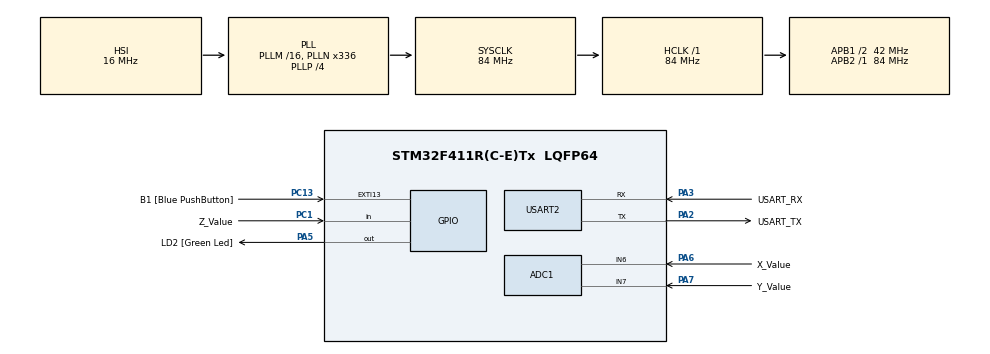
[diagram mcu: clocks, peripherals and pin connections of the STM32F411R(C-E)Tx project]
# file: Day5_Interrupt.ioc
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ADC1.Channel-0\#ChannelRegularConversion=ADC_CHANNEL_6
ADC1.Channel-1\#ChannelRegularConversion=ADC_CHANNEL_7
ADC1.NbrOfConversion=2
ADC1.NbrOfConversionFlag=1
ADC1.Rank-0\#ChannelRegularConversion=1
ADC1.Rank-1\#ChannelRegularConversion=2
ADC1.SamplingTime-0\#ChannelRegularConversion=ADC_SAMPLETIME_480CYCLES
ADC1.SamplingTime-1\#ChannelRegularConversion=ADC_SAMPLETIME_480CYCLES
ADC1.ScanConvMode=ENABLE
ADC1.master=1
Mcu.Family=STM32F4
Mcu.Name=STM32F411R(C-E)Tx
Mcu.Package=LQFP64
NVIC.ADC_IRQn=true\:0\:0\:false\:false\:true\:true\:true\:true
NVIC.PriorityGroup=NVIC_PRIORITYGROUP_0
PA13.GPIO_Label=TMS
PA13.Mode=Serial_Wire
PA13.Signal=SYS_JTMS-SWDIO
PA14.GPIO_Label=TCK
PA14.Mode=Serial_Wire
PA14.Signal=SYS_JTCK-SWCLK
PA2.GPIO_Label=USART_TX
PA2.Mode=Asynchronous
PA2.Signal=USART2_TX
PA3.GPIO_Label=USART_RX
PA3.Mode=Asynchronous
PA3.Signal=USART2_RX
PA5.GPIO_Label=LD2 [Green Led]
PA5.Signal=GPIO_Output
PA6.GPIO_Label=X_Value
PA6.Signal=ADCx_IN6
PA7.GPIO_Label=Y_Value
PA7.Signal=ADCx_IN7
PB3.GPIO_Label=SWO
PB3.Signal=SYS_JTDO-SWO
PC1.GPIO_Label=Z_Value
PC1.Signal=GPIO_Input
PC13-ANTI_TAMP.GPIO_Label=B1 [Blue PushButton]
PC13-ANTI_TAMP.GPIO_ModeDefaultEXTI=GPIO_MODE_IT_FALLING
PC13-ANTI_TAMP.Signal=GPXTI13
PC14-OSC32_IN.Mode=LSE-External-Oscillator
PC14-OSC32_IN.Signal=RCC_OSC32_IN
PC15-OSC32_OUT.Mode=LSE-External-Oscillator
PC15-OSC32_OUT.Signal=RCC_OSC32_OUT
PH0\ -\ OSC_IN.Mode=HSE-External-Clock-Source
PH0\ -\ OSC_IN.Signal=RCC_OSC_IN
PH1\ -\ OSC_OUT.Mode=HSE-External-Clock-Source
PH1\ -\ OSC_OUT.Signal=RCC_OSC_OUT
ProjectManager.HeapSize=0x200
ProjectManager.StackSize=0x400
ProjectManager.TargetToolchain=STM32CubeIDE
RCC.48MHZClocksFreq_Value=84000000
RCC.AHBFreq_Value=84000000
RCC.APB1CLKDivider=RCC_HCLK_DIV2
RCC.APB1Freq_Value=42000000
RCC.APB1TimFreq_Value=84000000
RCC.APB2Freq_Value=84000000
RCC.APB2TimFreq_Value=84000000
RCC.CortexFreq_Value=84000000
RCC.FLatency-AdvancedSettings=FLASH_LATENCY_2
RCC.HCLKFreq_Value=84000000
RCC.HSE_VALUE=8000000
RCC.HSI_VALUE=16000000
RCC.PLLN=336
RCC.PLLP=RCC_PLLP_DIV4
RCC.SYSCLKFreq_VALUE=84000000
RCC.SYSCLKSource=RCC_SYSCLKSOURCE_PLLCLK
RCC.VCOOutputFreq_Value=336000000
SH.ADCx_IN6.0=ADC1_IN6,IN6
SH.ADCx_IN7.0=ADC1_IN7,IN7
USART2.VirtualMode=VM_ASYNC
board=NUCLEO-F411RE

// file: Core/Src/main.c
/* USER CODE BEGIN Header */
/**
  ******************************************************************************
  * @file           : main.c
  * @brief          : Main program body
  ******************************************************************************
  * @attention
  *
  * Copyright (c) 2023 STMicroelectronics.
  * All rights reserved.
  *
  * This software is licensed under terms that can be found in the LICENSE file
  * in the root directory of this software component.
  * If no LICENSE file comes with this software, it is provided AS-IS.
  *
  ******************************************************************************
  */
/* USER CODE END Header */
#include "main.h"

ADC_HandleTypeDef hadc1;

UART_HandleTypeDef huart2;

void SystemClock_Config(void);
static void MX_GPIO_Init(void);
static void MX_USART2_UART_Init(void);
static void MX_ADC1_Init(void);

/* USER CODE BEGIN 0 */
int __io_putchar(int ch) // 1 byte output function to CONSOLE(monitor)
{
//	char a = ch;
	HAL_UART_Transmit(&huart2, &ch, 1, 100);
}

int nCount = 0;
int xVal, yVal, zVal;

void HAL_ADC_ConvCpltCallback(ADC_HandleTypeDef *hadc) // Callback function
{

//	if(nCount == 0)
//		xVal = HAL_ADC_GetValue(&hadc1)*90/4095;
//	else if(nCount == 1)
//		yVal = HAL_ADC_GetValue(&hadc1)*90/4095;
//	nCount++;
//	if (nCount == 2)
//	{
//		printf("Joystick(Interrupt) X : %d, Y = %d \r\n", xVal, yVal);
//		nCount = 0;
//	}
//	HAL_ADC_Start_IT(&hadc1);

	switch(nCount)
	{
		case 0 :
			xVal = HAL_ADC_GetValue(&hadc1)*90/4095;
			nCount++;
			break;
		case 1 :
			yVal = HAL_ADC_GetValue(&hadc1)*90/4095;
			nCount++;
			break;
		case 2 :
			zVal = !(HAL_GPIO_ReadPin(Z_Value_GPIO_Port, Z_Value_Pin));
			nCount++;
			break;
		case 3 :
			printf("Joystick(Interrupt) X : %d, Y = %d, Z = %d \r\n", xVal, yVal, zVal);
			nCount = 0;
	}
	HAL_ADC_Start_IT(&hadc1); // Restart ADC conversion
}
/* USER CODE END 0 */

int main(void)
{

  /* MCU Configuration--------------------------------------------------------*/

  /* Reset of all peripherals, Initializes the Flash interface and the Systick. */
  HAL_Init();

  /* Configure the system clock */
  SystemClock_Config();

  /* Initialize all configured peripherals */
  MX_GPIO_Init();
  MX_USART2_UART_Init();
  MX_ADC1_Init();

  HAL_ADC_Start_IT(&hadc1);

  /* Infinite loop */
  while (1)
  {

    /* USER CODE BEGIN 3 */
	  HAL_Delay(300);
  }
  /* USER CODE END 3 */
}

void SystemClock_Config(void)
{
  RCC_OscInitTypeDef RCC_OscInitStruct = {0};
  RCC_ClkInitTypeDef RCC_ClkInitStruct = {0};

  /** Configure the main internal regulator output voltage
  */
  __HAL_RCC_PWR_CLK_ENABLE();
  __HAL_PWR_VOLTAGESCALING_CONFIG(PWR_REGULATOR_VOLTAGE_SCALE1);

  /** Initializes the RCC Oscillators according to the specified parameters
  * in the RCC_OscInitTypeDef structure.
  */
  RCC_OscInitStruct.OscillatorType = RCC_OSCILLATORTYPE_HSI;
  RCC_OscInitStruct.HSIState = RCC_HSI_ON;
  RCC_OscInitStruct.HSICalibrationValue = RCC_HSICALIBRATION_DEFAULT;
  RCC_OscInitStruct.PLL.PLLState = RCC_PLL_ON;
  RCC_OscInitStruct.PLL.PLLSource = RCC_PLLSOURCE_HSI;
  RCC_OscInitStruct.PLL.PLLM = 16;
  RCC_OscInitStruct.PLL.PLLN = 336;
  RCC_OscInitStruct.PLL.PLLP = RCC_PLLP_DIV4;
  RCC_OscInitStruct.PLL.PLLQ = 4;
  if (HAL_RCC_OscConfig(&RCC_OscInitStruct) != HAL_OK)
  {
    Error_Handler();
  }

  /** Initializes the CPU, AHB and APB buses clocks
  */
  RCC_ClkInitStruct.ClockType = RCC_CLOCKTYPE_HCLK|RCC_CLOCKTYPE_SYSCLK
                              |RCC_CLOCKTYPE_PCLK1|RCC_CLOCKTYPE_PCLK2;
  RCC_ClkInitStruct.SYSCLKSource = RCC_SYSCLKSOURCE_PLLCLK;
  RCC_ClkInitStruct.AHBCLKDivider = RCC_SYSCLK_DIV1;
  RCC_ClkInitStruct.APB1CLKDivider = RCC_HCLK_DIV2;
  RCC_ClkInitStruct.APB2CLKDivider = RCC_HCLK_DIV1;

  if (HAL_RCC_ClockConfig(&RCC_ClkInitStruct, FLASH_LATENCY_2) != HAL_OK)
  {
    Error_Handler();
  }
}

static void MX_ADC1_Init(void)
{

  ADC_ChannelConfTypeDef sConfig = {0};

  /** Configure the global features of the ADC (Clock, Resolution, Data Alignment and number of conversion)
  */
  hadc1.Instance = ADC1;
  hadc1.Init.ClockPrescaler = ADC_CLOCK_SYNC_PCLK_DIV4;
  hadc1.Init.Resolution = ADC_RESOLUTION_12B;
  hadc1.Init.ScanConvMode = ENABLE;
  hadc1.Init.ContinuousConvMode = DISABLE;
  hadc1.Init.DiscontinuousConvMode = DISABLE;
  hadc1.Init.ExternalTrigConvEdge = ADC_EXTERNALTRIGCONVEDGE_NONE;
  hadc1.Init.ExternalTrigConv = ADC_SOFTWARE_START;
  hadc1.Init.DataAlign = ADC_DATAALIGN_RIGHT;
  hadc1.Init.NbrOfConversion = 2;
  hadc1.Init.DMAContinuousRequests = DISABLE;
  hadc1.Init.EOCSelection = ADC_EOC_SINGLE_CONV;
  if (HAL_ADC_Init(&hadc1) != HAL_OK)
  {
    Error_Handler();
  }

  /** Configure for the selected ADC regular channel its corresponding rank in the sequencer and its sample time.
  */
  sConfig.Channel = ADC_CHANNEL_6;
  sConfig.Rank = 1;
  sConfig.SamplingTime = ADC_SAMPLETIME_480CYCLES;
  if (HAL_ADC_ConfigChannel(&hadc1, &sConfig) != HAL_OK)
  {
    Error_Handler();
  }

  /** Configure for the selected ADC regular channel its corresponding rank in the sequencer and its sample time.
  */
  sConfig.Channel = ADC_CHANNEL_7;
  sConfig.Rank = 2;
  if (HAL_ADC_ConfigChannel(&hadc1, &sConfig) != HAL_OK)
  {
    Error_Handler();
  }

}

static void MX_USART2_UART_Init(void)
{

  huart2.Instance = USART2;
  huart2.Init.BaudRate = 115200;
  huart2.Init.WordLength = UART_WORDLENGTH_8B;
  huart2.Init.StopBits = UART_STOPBITS_1;
  huart2.Init.Parity = UART_PARITY_NONE;
  huart2.Init.Mode = UART_MODE_TX_RX;
  huart2.Init.HwFlowCtl = UART_HWCONTROL_NONE;
  huart2.Init.OverSampling = UART_OVERSAMPLING_16;
  if (HAL_UART_Init(&huart2) != HAL_OK)
  {
    Error_Handler();
  }

}

static void MX_GPIO_Init(void)
{
  GPIO_InitTypeDef GPIO_InitStruct = {0};

  /* GPIO Ports Clock Enable */
  __HAL_RCC_GPIOC_CLK_ENABLE();
  __HAL_RCC_GPIOH_CLK_ENABLE();
  __HAL_RCC_GPIOA_CLK_ENABLE();
  __HAL_RCC_GPIOB_CLK_ENABLE();

  /*Configure GPIO pin Output Level */
  HAL_GPIO_WritePin(LD2_GPIO_Port, LD2_Pin, GPIO_PIN_RESET);

  /*Configure GPIO pin : B1_Pin */
  GPIO_InitStruct.Pin = B1_Pin;
  GPIO_InitStruct.Mode = GPIO_MODE_IT_FALLING;
  GPIO_InitStruct.Pull = GPIO_NOPULL;
  HAL_GPIO_Init(B1_GPIO_Port, &GPIO_InitStruct);

  /*Configure GPIO pin : Z_Value_Pin */
  GPIO_InitStruct.Pin = Z_Value_Pin;
  GPIO_InitStruct.Mode = GPIO_MODE_INPUT;
  GPIO_InitStruct.Pull = GPIO_PULLUP;
  HAL_GPIO_Init(Z_Value_GPIO_Port, &GPIO_InitStruct);

  /*Configure GPIO pin : LD2_Pin */
  GPIO_InitStruct.Pin = LD2_Pin;
  GPIO_InitStruct.Mode = GPIO_MODE_OUTPUT_PP;
  GPIO_InitStruct.Pull = GPIO_NOPULL;
  GPIO_InitStruct.Speed = GPIO_SPEED_FREQ_LOW;
  HAL_GPIO_Init(LD2_GPIO_Port, &GPIO_InitStruct);

}

void Error_Handler(void)
{
  __disable_irq();
  while (1)
  {
  }
}
